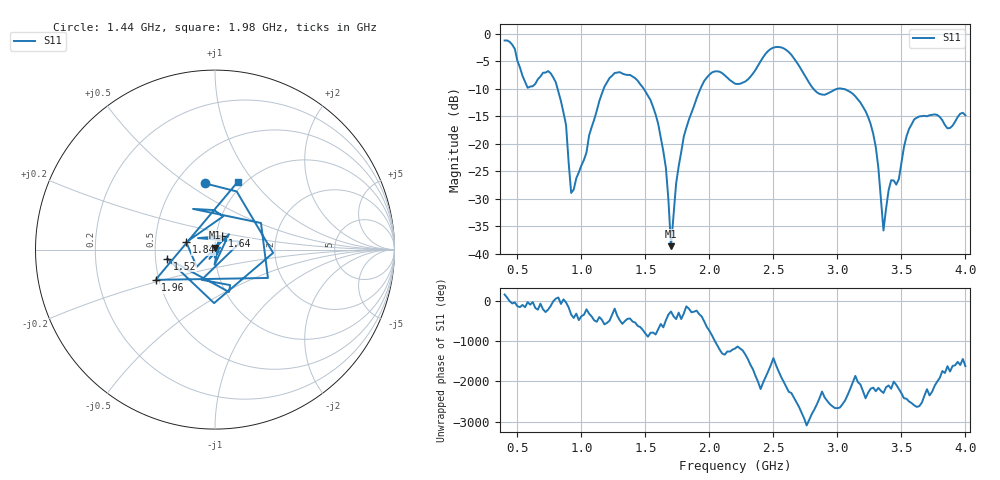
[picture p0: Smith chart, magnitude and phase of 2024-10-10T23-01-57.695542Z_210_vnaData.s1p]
! Created with skrf (http://scikit-rf.org).
# Hz S RI R 50.0
!freq ReS11 ImS11
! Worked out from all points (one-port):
!   181 points, 400 MHz to 4 GHz, reference 50 ohm
!   lowest |S11| = -38.6 dB at 1.7 GHz (marker M1), VSWR 1.02, Z = 49.9 + j1.17 ohm
!   |S11| at or under -10 dB: 813.2 MHz to 1.175 GHz (361.4 MHz wide, 36.4 % of centre); 1.486 GHz to 1.931 GHz (444.8 MHz wide, 26 % of centre); 3.03 GHz to end of sweep (the widest 3 of 4)
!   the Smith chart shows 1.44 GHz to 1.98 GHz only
!   S11 on the Smith chart (normalised r, x): 1.44 GHz: 0.69, +0.59; 1.52 GHz: 0.58, -0.06; 1.64 GHz: 1.07, +0.16; 1.84 GHz: 0.72, +0.06; 1.96 GHz: 0.48, -0.19; 1.98 GHz: 0.93, +0.83
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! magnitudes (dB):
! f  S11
! 400 MHz  -1.3
! 580 MHz  -9.9
! 760 MHz  -7.2
! 860 MHz  -14.4
! 920 MHz  -28.9
! 1.18 GHz  -9.7
! 1.3 GHz  -7.0
! 1.44 GHz  -8.6
! 1.52 GHz  -11.3
! 1.64 GHz  -21.4
! 1.66 GHz  -24.4
! 1.7 GHz  -38.6
! 1.76 GHz  -24.1
! 1.84 GHz  -15.6
! 1.96 GHz  -8.6
! 1.98 GHz  -8.0
! 2.2 GHz  -9.1
! 2.5 GHz  -2.6
! 2.66 GHz  -4.5
! 2.84 GHz  -10.7
! 3.1 GHz  -10.6
! 3.28 GHz  -18.2
! 3.32 GHz  -24.4
! 3.36 GHz  -35.8
! 3.4 GHz  -28.5
! 3.48 GHz  -26.4
! 3.56 GHz  -17.3
! 4 GHz  -14.9
